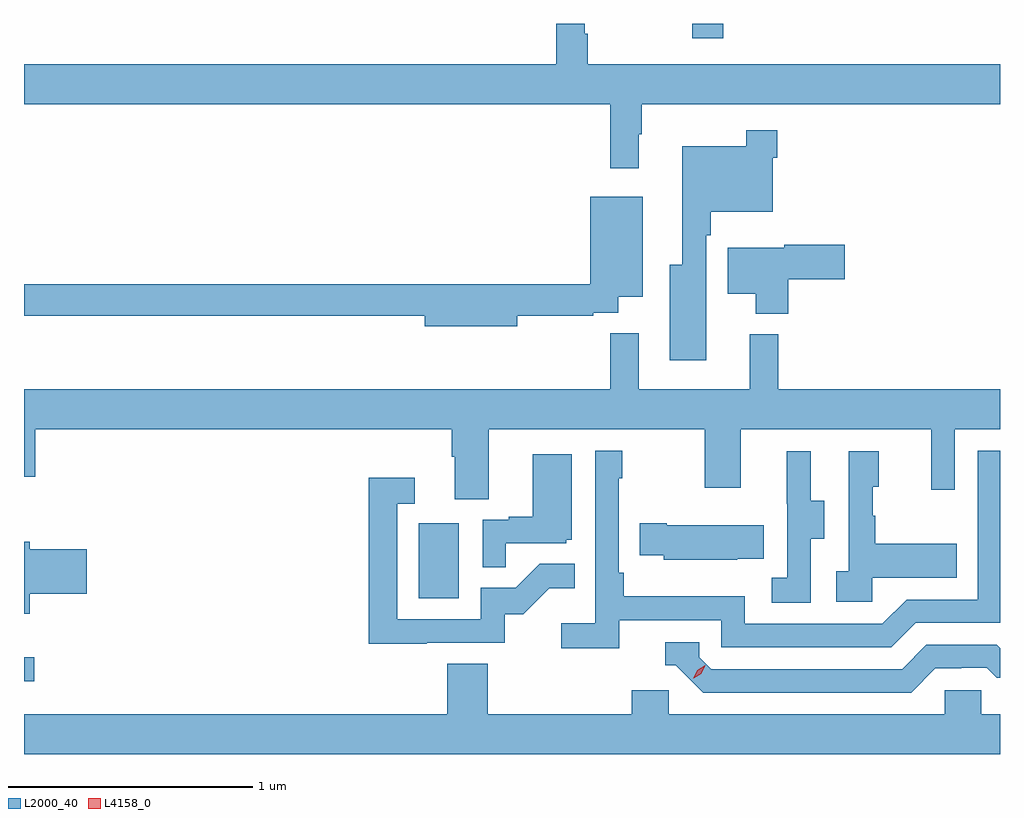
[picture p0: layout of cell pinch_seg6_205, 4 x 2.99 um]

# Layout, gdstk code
import gdstk
lib = gdstk.Library(unit=1e-6, precision=1e-09)
def R(c, l, rs):  # rectangles x0, y0, x1, y1
    for r in rs: c.add(gdstk.rectangle(r[:2], r[2:], *l))
def P(c, l, *ps):  # polygons
    for p in ps: c.add(gdstk.Polygon(p, *l))
L2000_40 = (2000, 40)
L4158_0 = (4158, 0)

pinch_seg6_205 = lib.new_cell('pinch_seg6_205')
R(pinch_seg6_205, L2000_40, [(1042.6,919.664,1042.642,919.761), (1044.218,920.004,1044.382,920.311), (1045.338,922.299,1045.466,922.358)])
P(pinch_seg6_205, L2000_40, [(1045.12,921.905),(1045.132,921.905),(1045.132,922.028),(1046.6,922.028),(1046.6,922.192),(1044.91,922.192),(1044.91,922.316),(1044.898,922.316),(1044.898,922.358),(1044.781,922.358),(1044.781,922.192),(1042.6,922.192),(1042.6,922.028),(1045.003,922.028),(1045.003,921.765),(1045.12,921.765)],
  [(1045.396,921.491),(1045.415,921.491),(1045.415,921.587),(1045.668,921.587),(1045.668,921.809),(1045.688,921.809),(1045.688,921.922),(1045.56,921.922),(1045.56,921.856),(1045.298,921.856),(1045.298,921.37),(1045.247,921.37),(1045.247,920.978),(1045.396,920.978)],
  [(1044.622,921.162),(1044.932,921.162),(1044.932,921.174),(1045.036,921.174),(1045.036,921.239),(1045.135,921.239),(1045.135,921.649),(1044.92,921.649),(1044.92,921.29),(1042.6,921.29),(1042.6,921.162),(1044.242,921.162),(1044.242,921.119),(1044.622,921.119)],
  [(1045.733,921.31),(1045.963,921.31),(1045.963,921.452),(1045.716,921.452),(1045.716,921.439),(1045.484,921.439),(1045.484,921.251),(1045.598,921.251),(1045.598,921.17),(1045.733,921.17)],
  [(1044.505,920.696),(1045.39,920.696),(1045.39,920.457),(1045.537,920.457),(1045.537,920.696),(1046.318,920.696),(1046.318,920.448),(1046.415,920.448),(1046.415,920.696),(1046.6,920.696),(1046.6,920.86),(1045.691,920.86),(1045.691,921.085),(1045.574,921.085),(1045.574,920.86),(1045.119,920.86),(1045.119,921.089),(1045.003,921.089),(1045.003,920.86),(1042.6,920.86),(1042.6,920.502),(1042.646,920.502),(1042.646,920.696),(1044.353,920.696),(1044.353,920.584),(1044.365,920.584),(1044.365,920.41),(1044.505,920.41)],
  [(1045.04,919.914),(1045.458,919.914),(1045.458,919.803),(1046.155,919.803),(1046.254,919.902),(1046.6,919.902),(1046.6,920.607),(1046.508,920.607),(1046.508,919.998),(1046.217,919.998),(1046.118,919.899),(1045.554,919.899),(1045.554,920.011),(1045.058,920.011),(1045.058,920.107),(1045.038,920.107),(1045.038,920.495),(1045.051,920.495),(1045.051,920.608),(1044.942,920.608),(1044.942,919.9),(1044.801,919.9),(1044.801,919.798),(1045.04,919.798)],
  [(1046.076,920.087),(1046.423,920.087),(1046.423,920.227),(1046.089,920.227),(1046.089,920.342),(1046.079,920.342),(1046.079,920.46),(1046.104,920.46),(1046.104,920.605),(1045.98,920.605),(1045.98,920.114),(1045.929,920.114),(1045.929,919.989),(1046.076,919.989)],
  [(1045.824,920.248),(1045.879,920.248),(1045.879,920.403),(1045.825,920.403),(1045.825,920.605),(1045.727,920.605),(1045.727,920.391),(1045.728,920.391),(1045.728,920.087),(1045.665,920.087),(1045.665,919.984),(1045.824,919.984)],
  [(1044.575,920.229),(1044.822,920.229),(1044.822,920.244),(1044.844,920.244),(1044.844,920.593),(1044.686,920.593),(1044.686,920.338),(1044.587,920.338),(1044.587,920.325),(1044.48,920.325),(1044.48,920.131),(1044.575,920.131)],
  [(1044.251,919.821),(1044.57,919.821),(1044.57,919.938),(1044.646,919.938),(1044.753,920.045),(1044.857,920.045),(1044.857,920.144),(1044.713,920.144),(1044.615,920.046),(1044.471,920.046),(1044.471,919.917),(1044.129,919.917),(1044.129,920.391),(1044.202,920.391),(1044.202,920.497),(1044.013,920.497),(1044.013,919.816),(1044.251,919.816)],
  [(1045.523,920.165),(1045.631,920.165),(1045.631,920.302),(1045.234,920.302),(1045.234,920.31),(1045.123,920.31),(1045.123,920.18),(1045.221,920.18),(1045.221,920.162),(1045.523,920.162)],
  [(1042.624,920.021),(1042.858,920.021),(1042.858,920.204),(1042.624,920.204),(1042.624,920.236),(1042.6,920.236),(1042.6,919.94),(1042.624,919.94)],
  [(1046.335,919.716),(1046.442,919.716),(1046.442,919.719),(1046.545,919.719),(1046.587,919.677),(1046.6,919.677),(1046.6,919.799),(1046.587,919.812),(1046.298,919.812),(1046.199,919.713),(1045.416,919.713),(1045.368,919.761),(1045.368,919.824),(1045.229,919.824),(1045.229,919.728),(1045.272,919.728),(1045.383,919.617),(1046.236,919.617)],
  [(1046.6,919.528),(1046.523,919.528),(1046.523,919.626),(1046.373,919.626),(1046.373,919.528),(1045.242,919.528),(1045.242,919.626),(1045.091,919.626),(1045.091,919.528),(1044.5,919.528),(1044.5,919.736),(1044.335,919.736),(1044.335,919.528),(1042.6,919.528),(1042.6,919.364),(1046.6,919.364)])
P(pinch_seg6_205, L4158_0, [(1045.343,919.676),(1045.343,919.676),(1045.36,919.709),(1045.391,919.728),(1045.391,919.728),(1045.391,919.727),(1045.375,919.695),(1045.344,919.676)])

lib.write_gds('pinch_seg6_205.gds')
